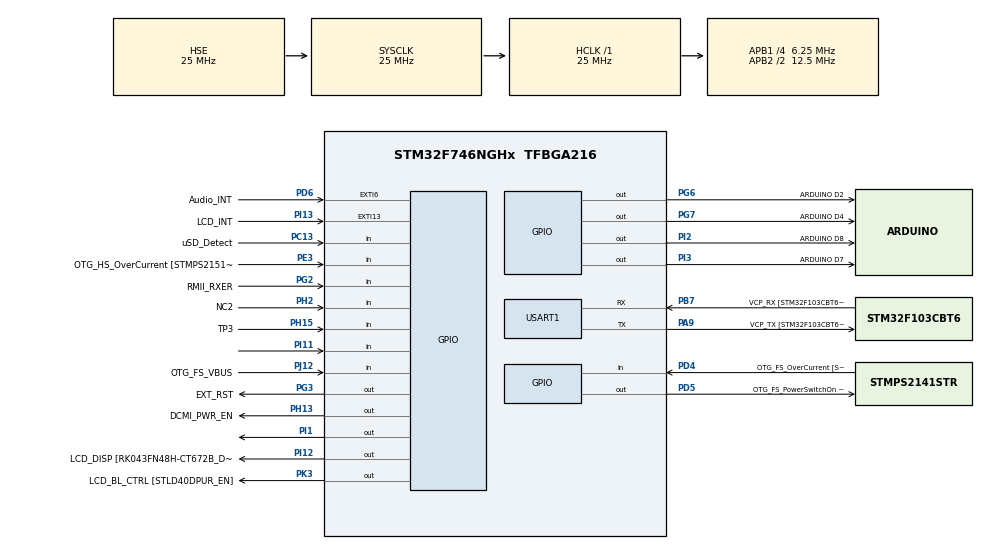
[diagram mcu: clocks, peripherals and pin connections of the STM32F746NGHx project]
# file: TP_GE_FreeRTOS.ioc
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FREERTOS.Tasks01=defaultTask,0,256,StartDefaultTask,Default,NULL,Dynamic,NULL,NULL
FREERTOS.configCHECK_FOR_STACK_OVERFLOW=2
FREERTOS.configGENERATE_RUN_TIME_STATS=1
FREERTOS.configRECORD_STACK_HIGH_ADDRESS=1
FREERTOS.configTOTAL_HEAP_SIZE=30000
FREERTOS.configUSE_STATS_FORMATTING_FUNCTIONS=1
FREERTOS.configUSE_TRACE_FACILITY=1
Mcu.Family=STM32F7
Mcu.Name=STM32F746NGHx
Mcu.Package=TFBGA216
NVIC.PriorityGroup=NVIC_PRIORITYGROUP_4
NVIC.USART1_IRQn=true\:5\:0\:false\:false\:true\:true\:true\:true\:true
PA0/WKUP.GPIO_Label=ARDUINO A0
PA0/WKUP.GPIO_Mode=GPIO_MODE_ANALOG
PA0/WKUP.GPIO_PuPd=GPIO_NOPULL
PA0/WKUP.Signal=ADCx_IN0
PA1.GPIO_Label=RMII_REF_CLK [LAN8742A-CZ-TR_REFCLK0]
PA1.Signal=ETH_REF_CLK
PA10.GPIO_Label=OTG_FS_ID
PA10.Signal=USB_OTG_FS_ID
PA11.GPIO_Label=OTG_FS_N
PA11.Signal=USB_OTG_FS_DM
PA12.GPIO_Label=OTG_FS_P
PA12.Signal=USB_OTG_FS_DP
PA13.GPIO_Label=SWDIO
PA13.Signal=SYS_JTMS-SWDIO
PA14.GPIO_Label=SWCLK
PA14.Signal=SYS_JTCK-SWCLK
PA15.GPIO_Label=ARDUINO PWM/D9
PA15.GPIO_ModeDefaultPP=GPIO_MODE_AF_PP
PA15.GPIO_PuPd=GPIO_NOPULL
PA15.GPIO_Speed=GPIO_SPEED_FREQ_LOW
PA15.Signal=S_TIM2_CH1_ETR
PA2.GPIO_Label=RMII_MDIO [LAN8742A-CZ-TR_MDIO]
PA2.Signal=ETH_MDIO
PA3.GPIO_Label=ULPI_D0 [USB3320C-EZK_D0]
PA3.Signal=USB_OTG_HS_ULPI_D0
PA4.GPIO_Label=DCMI_HSYNC
PA4.Signal=DCMI_HSYNC
PA5.GPIO_Label=ULPI_CLK [USB3320C-EZK_CLKOUT]
PA5.Signal=USB_OTG_HS_ULPI_CK
PA6.Signal=DCMI_PIXCLK
PA7.GPIO_Label=RMII_CRS_DV [LAN8742A-CZ-TR_CRS_DV]
PA7.Signal=ETH_CRS_DV
PA8.GPIO_Label=ARDUINO PWM/D10
PA8.GPIO_ModeDefaultPP=GPIO_MODE_AF_PP
PA8.GPIO_PuPd=GPIO_NOPULL
PA8.GPIO_Speed=GPIO_SPEED_FREQ_LOW
PA8.Signal=S_TIM1_CH1
PA9.GPIO_Label=VCP_TX [STM32F103CBT6_PA3]
PA9.GPIO_Mode=GPIO_MODE_AF_PP
PA9.GPIO_PuPd=GPIO_NOPULL
PA9.GPIO_Speed=GPIO_SPEED_FREQ_LOW
PA9.Mode=Asynchronous
PA9.Signal=USART1_TX
PB0.GPIO_Label=ULPI_D1 [USB3320C-EZK_D1]
PB0.Signal=USB_OTG_HS_ULPI_D1
PB1.GPIO_Label=ULPI_D2 [USB3320C-EZK_D2]
PB1.Signal=USB_OTG_HS_ULPI_D2
PB10.GPIO_Label=ULPI_D3 [USB3320C-EZK_D3]
PB10.Signal=USB_OTG_HS_ULPI_D3
PB11.GPIO_Label=ULPI_D4 [USB3320C-EZK_D4]
PB11.Signal=USB_OTG_HS_ULPI_D4
PB12.GPIO_Label=ULPI_D5 [USB3320C-EZK_D5]
PB12.Signal=USB_OTG_HS_ULPI_D5
PB13.GPIO_Label=ULPI_D6 [USB3320C-EZK_D6]
PB13.Signal=USB_OTG_HS_ULPI_D6
PB14.GPIO_Label=ARDUINO MISO/D12
PB14.GPIO_Mode=GPIO_MODE_AF_PP
PB14.GPIO_PuPd=GPIO_NOPULL
PB14.GPIO_Speed=GPIO_SPEED_FREQ_LOW
PB14.Signal=SPI2_MISO
PB15.GPIO_Label=ARDUINO MOSI/PWM/D11
PB15.GPIO_Mode=GPIO_MODE_AF_PP
PB15.GPIO_PuPd=GPIO_NOPULL
PB15.GPIO_Speed=GPIO_SPEED_FREQ_LOW
PB15.Signal=SPI2_MOSI
PB2.Signal=QUADSPI_CLK
PB3.GPIO_Label=SWO
PB3.Signal=SYS_JTDO-SWO
PB4.GPIO_Label=ARDUINO PWM/D3
PB4.GPIO_ModeDefaultPP=GPIO_MODE_AF_PP
PB4.GPIO_PuPd=GPIO_NOPULL
PB4.GPIO_Speed=GPIO_SPEED_FREQ_LOW
PB4.Signal=S_TIM3_CH1
PB5.GPIO_Label=ULPI_D7 [USB3320C-EZK_D7]
PB5.Signal=USB_OTG_HS_ULPI_D7
PB6.GPIO_Label=QSPI_NCS [N25Q128A13EF840E_S]
PB6.Signal=QUADSPI_BK1_NCS
PB7.GPIO_Label=VCP_RX [STM32F103CBT6_PA2]
PB7.GPIO_Mode=GPIO_MODE_AF_PP
PB7.GPIO_PuPd=GPIO_NOPULL
PB7.GPIO_Speed=GPIO_SPEED_FREQ_LOW
PB7.Mode=Asynchronous
PB7.Signal=USART1_RX
PB8.GPIO_Label=ARDUINO SCL/D15
PB8.GPIO_Mode=GPIO_MODE_AF_OD
PB8.GPIO_PuPd=GPIO_NOPULL
PB8.GPIO_Speed=GPIO_SPEED_FREQ_LOW
PB8.Signal=I2C1_SCL
PB9.GPIO_Label=ARDUINO SDA/D14
PB9.GPIO_Mode=GPIO_MODE_AF_OD
PB9.GPIO_PuPd=GPIO_NOPULL
PB9.GPIO_Speed=GPIO_SPEED_FREQ_LOW
PB9.Signal=I2C1_SDA
PC0.GPIO_Label=ULPI_STP [USB3320C-EZK_STP]
PC0.Signal=USB_OTG_HS_ULPI_STP
PC1.GPIO_Label=RMII_MDC [LAN8742A-CZ-TR_MDC]
PC1.Signal=ETH_MDC
PC10.GPIO_Label=SDMMC_D2
PC10.Signal=SDMMC1_D2
PC11.GPIO_Label=SDMMC_D3
PC11.Signal=SDMMC1_D3
PC12.GPIO_Label=SDMMC_CK
PC12.Signal=SDMMC1_CK
PC13.GPIO_Label=uSD_Detect
PC13.Signal=GPIO_Input
PC14/OSC32_IN.GPIO_Label=RCC_OSC32_IN
PC14/OSC32_IN.Signal=RCC_OSC32_IN
PC15/OSC32_OUT.GPIO_Label=RCC_OSC32_OUT
PC15/OSC32_OUT.Signal=RCC_OSC32_OUT
PC2.GPIO_Label=ULPI_DIR [USB3320C-EZK_DIR]
PC2.Signal=USB_OTG_HS_ULPI_DIR
PC3.GPIO_Label=FMC_SDCKE0 [MT48LC4M32B2B5-6A_CKE]
PC3.Signal=FMC_SDCKE0
PC4.GPIO_Label=RMII_RXD0 [LAN8742A-CZ-TR_RXD0]
PC4.Signal=ETH_RXD0
PC5.GPIO_Label=RMII_RXD1 [LAN8742A-CZ-TR_RXD1]
PC5.Signal=ETH_RXD1
PC6.GPIO_Label=ARDUINO TX/D1
PC6.Signal=USART6_TX
PC7.GPIO_Label=ARDUINO RX/D0
PC7.Signal=USART6_RX
PC8.Signal=SDMMC1_D0
PC9.Signal=SDMMC1_D1
PD0.GPIO_Label=FMC_D2 [MT48LC4M32B2B5-6A_DQ2]
PD0.Signal=FMC_D2_DA2
PD1.GPIO_Label=FMC_D3 [MT48LC4M32B2B5-6A_DQ3]
PD1.Signal=FMC_D3_DA3
PD10.GPIO_Label=FMC_D15 [MT48LC4M32B2B5-6A_DQ15]
PD10.Signal=FMC_D15_DA15
PD11.GPIO_Label=QSPI_D0 [N25Q128A13EF840E_DQ0]
PD11.Signal=QUADSPI_BK1_IO0
PD12.GPIO_Label=QSPI_D1 [N25Q128A13EF840E_DQ1]
PD12.Signal=QUADSPI_BK1_IO1
PD13.GPIO_Label=QSPI_D3 [N25Q128A13EF840E_DQ3]
PD13.Signal=QUADSPI_BK1_IO3
PD14.GPIO_Label=FMC_D0 [MT48LC4M32B2B5-6A_DQ0]
PD14.Signal=FMC_D0_DA0
PD15.GPIO_Label=FMC_D1 [MT48LC4M32B2B5-6A_DQ1]
PD15.Signal=FMC_D1_DA1
PD2.GPIO_Label=SDMMC_D0
PD2.Signal=SDMMC1_CMD
PD3.GPIO_Label=DCMI_D5
PD3.Signal=DCMI_D5
PD4.GPIO_Label=OTG_FS_OverCurrent [STMPS2141STR_Fault]
PD4.Signal=GPIO_Input
PD5.GPIO_Label=OTG_FS_PowerSwitchOn [STMPS2141STR_EN]
PD5.PinState=GPIO_PIN_SET
PD5.Signal=GPIO_Output
PD6.GPIO_Label=Audio_INT
PD6.GPIO_ModeDefaultEXTI=GPIO_MODE_EVT_RISING
PD6.Signal=GPXTI6
PD7.GPIO_Label=SPDIF_RX0 [74LVC1G04SE_4]
PD7.Signal=SPDIFRX_IN0
PD8.GPIO_Label=FMC_D13 [MT48LC4M32B2B5-6A_DQ13]
PD8.Signal=FMC_D13_DA13
PD9.GPIO_Label=FMC_D14 [MT48LC4M32B2B5-6A_DQ14]
PD9.Signal=FMC_D14_DA14
PE0.GPIO_Label=FMC_NBL0 [MT48LC4M32B2B5-6A_DQM0]
PE0.Signal=FMC_NBL0
PE1.GPIO_Label=FMC_NBL1 [MT48LC4M32B2B5-6A_DQM1]
PE1.Signal=FMC_NBL1
PE10.GPIO_Label=FMC_D7 [MT48LC4M32B2B5-6A_DQ7]
PE10.Signal=FMC_D7_DA7
PE11.GPIO_Label=FMC_D8 [MT48LC4M32B2B5-6A_DQ8]
PE11.Signal=FMC_D8_DA8
PE12.GPIO_Label=FMC_D9 [MT48LC4M32B2B5-6A_DQ9]
PE12.Signal=FMC_D9_DA9
PE13.GPIO_Label=FMC_D10 [MT48LC4M32B2B5-6A_DQ10]
PE13.Signal=FMC_D10_DA10
PE14.GPIO_Label=FMC_D11 [MT48LC4M32B2B5-6A_DQ11]
PE14.Signal=FMC_D11_DA11
PE15.GPIO_Label=FMC_D12 [MT48LC4M32B2B5-6A_DQ12]
PE15.Signal=FMC_D12_DA12
PE2.GPIO_Label=QSPI_D2 [N25Q128A13EF840E_DQ2]
PE2.Signal=QUADSPI_BK1_IO2
PE3.GPIO_Label=OTG_HS_OverCurrent [STMPS2151STR_FAULT]
PE3.Signal=GPIO_Input
PE4.GPIO_Label=LCD_B0 [RK043FN48H-CT672B_B0]
PE4.Signal=LTDC_B0
PE5.GPIO_Label=DCMI_D6
PE5.Signal=DCMI_D6
PE6.GPIO_Label=DCMI_D7
PE6.Signal=DCMI_D7
PE7.GPIO_Label=FMC_D4 [MT48LC4M32B2B5-6A_DQ4]
PE7.Signal=FMC_D4_DA4
PE8.GPIO_Label=FMC_D5 [MT48LC4M32B2B5-6A_DQ5]
PE8.Signal=FMC_D5_DA5
PE9.GPIO_Label=FMC_D6 [MT48LC4M32B2B5-6A_DQ6]
PE9.Signal=FMC_D6_DA6
PF0.GPIO_Label=FMC_A0 [MT48LC4M32B2B5-6A_A0]
PF0.Signal=FMC_A0
PF1.GPIO_Label=FMC_A1 [MT48LC4M32B2B5-6A_A1]
PF1.Signal=FMC_A1
PF10.GPIO_Label=ARDUINO A1
PF10.GPIO_Mode=GPIO_MODE_ANALOG
PF10.GPIO_PuPd=GPIO_NOPULL
PF10.Signal=ADC3_IN8
PF11.GPIO_Label=FMC_SDNRAS [MT48LC4M32B2B5-6A_RAS]
PF11.Signal=FMC_SDNRAS
PF12.GPIO_Label=FMC_A6 [MT48LC4M32B2B5-6A_A6]
PF12.Signal=FMC_A6
PF13.GPIO_Label=FMC_A7 [MT48LC4M32B2B5-6A_A7]
PF13.Signal=FMC_A7
PF14.GPIO_Label=FMC_A8 [MT48LC4M32B2B5-6A_A8]
PF14.Signal=FMC_A8
PF15.GPIO_Label=FMC_A9 [MT48LC4M32B2B5-6A_A9]
PF15.Signal=FMC_A9
PF2.GPIO_Label=FMC_A2 [MT48LC4M32B2B5-6A_A2]
PF2.Signal=FMC_A2
PF3.GPIO_Label=FMC_A3 [MT48LC4M32B2B5-6A_A3]
PF3.Signal=FMC_A3
PF4.GPIO_Label=FMC_A4 [MT48LC4M32B2B5-6A_A4]
PF4.Signal=FMC_A4
PF5.GPIO_Label=FMC_A5 [MT48LC4M32B2B5-6A_A5]
PF5.Signal=FMC_A5
PF6.GPIO_Label=ARDUINO A5
PF6.GPIO_Mode=GPIO_MODE_ANALOG
PF6.GPIO_PuPd=GPIO_NOPULL
PF6.Signal=ADC3_IN4
PF7.GPIO_Label=ARDUINO A4
PF7.GPIO_Mode=GPIO_MODE_ANALOG
PF7.GPIO_PuPd=GPIO_NOPULL
PF7.Signal=ADC3_IN5
PF8.GPIO_Label=ARDUINO A3
PF8.GPIO_Mode=GPIO_MODE_ANALOG
PF8.GPIO_PuPd=GPIO_NOPULL
PF8.Signal=ADC3_IN6
PF9.GPIO_Label=ARDUINO A2
PF9.GPIO_Mode=GPIO_MODE_ANALOG
PF9.GPIO_PuPd=GPIO_NOPULL
PF9.Signal=ADC3_IN7
PG0.GPIO_Label=FMC_A10 [MT48LC4M32B2B5-6A_A10]
PG0.Signal=FMC_A10
PG1.GPIO_Label=FMC_A11 [MT48LC4M32B2B5-6A_A11]
PG1.Signal=FMC_A11
PG10.GPIO_Label=SAI2_SDB [WM8994ECS/R_ADCDAT1]
PG10.Signal=SAI2_SD_B
PG11.GPIO_Label=RMII_TX_EN [LAN8742A-CZ-TR_TXEN]
PG11.Signal=ETH_TX_EN
PG12.GPIO_Label=LCD_B4 [RK043FN48H-CT672B_B4]
PG12.Signal=LTDC_B4
PG13.GPIO_Label=RMII_TXD0 [LAN8742A-CZ-TR_TXD0]
PG13.Signal=ETH_TXD0
PG14.GPIO_Label=RMII_TXD1 [LAN8742A-CZ-TR_TXD1]
PG14.Signal=ETH_TXD1
PG15.GPIO_Label=FMC_SDNCAS [MT48LC4M32B2B5-6A_CAS]
PG15.Signal=FMC_SDNCAS
PG2.GPIO_Label=RMII_RXER
PG2.Signal=GPIO_Input
PG3.GPIO_Label=EXT_RST
PG3.Signal=GPIO_Output
PG4.GPIO_Label=FMC_BA0 [MT48LC4M32B2B5-6A_BA0]
PG4.Signal=FMC_A14_BA0
PG5.GPIO_Label=FMC_BA1 [MT48LC4M32B2B5-6A_BA1]
PG5.Signal=FMC_A15_BA1
PG6.GPIO_Label=ARDUINO D2
PG6.Signal=GPIO_Output
PG7.GPIO_Label=ARDUINO D4
PG7.Signal=GPIO_Output
PG8.GPIO_Label=FMC_SDCLK [MT48LC4M32B2B5-6A_CLK]
PG8.Signal=FMC_SDCLK
PG9.GPIO_Label=DCMI_VSYNC
PG9.Signal=DCMI_VSYNC
PH0/OSC_IN.GPIO_Label=OSC_25M [NZ2520SB-25.00M_OUT]
PH0/OSC_IN.Mode=HSE-External-Oscillator
PH0/OSC_IN.Signal=RCC_OSC_IN
PH1/OSC_OUT.Mode=HSE-External-Oscillator
PH1/OSC_OUT.Signal=RCC_OSC_OUT
PH10.GPIO_Label=DCMI_D1
PH10.Signal=DCMI_D1
PH11.GPIO_Label=DCMI_D2
PH11.Signal=DCMI_D2
PH12.GPIO_Label=DCMI_D3
PH12.Signal=DCMI_D3
PH13.GPIO_Label=DCMI_PWR_EN
PH13.Signal=GPIO_Output
PH14.GPIO_Label=DCMI_D4
PH14.Signal=DCMI_D4
PH15.GPIO_Label=TP3
PH15.Signal=GPIO_Input
PH2.GPIO_Label=NC2
PH2.Signal=GPIO_Input
PH3.GPIO_Label=FMC_SDNE0 [MT48LC4M32B2B5-6A_CS]
PH3.Signal=FMC_SDNE0
PH4.GPIO_Label=ULPI_NXT [USB3320C-EZK_NXT]
PH4.Signal=USB_OTG_HS_ULPI_NXT
PH5.GPIO_Label=FMC_SDNME [MT48LC4M32B2B5-6A_WE]
PH5.Signal=FMC_SDNWE
PH6.GPIO_Label=ARDUINO PWM/D6
PH6.Signal=S_TIM12_CH1
PH7.GPIO_Label=LCD_SCL [RK043FN48H-CT672B_SCL]
PH7.Signal=I2C3_SCL
PH8.GPIO_Label=LCD_SDA [RK043FN48H-CT672B_SDA]
PH8.Signal=I2C3_SDA
PH9.GPIO_Label=DCMI_D0
PH9.Signal=DCMI_D0
PI0.GPIO_Label=ARDUINO PWM/CS/D5
PI0.GPIO_ModeDefaultPP=GPIO_MODE_AF_PP
PI0.GPIO_PuPd=GPIO_NOPULL
PI0.GPIO_Speed=GPIO_SPEED_FREQ_LOW
PI0.Signal=S_TIM5_CH4
PI1.Signal=GPIO_Output
PI10.GPIO_Label=LCD_HSYNC [RK043FN48H-CT672B_HSYNC]
PI10.Signal=LTDC_HSYNC
PI11.Signal=GPIO_Input
PI12.GPIO_Label=LCD_DISP [RK043FN48H-CT672B_DISP] 
PI12.Signal=GPIO_Output
PI13.GPIO_Label=LCD_INT
PI13.GPIO_ModeDefaultEXTI=GPIO_MODE_EVT_RISING
PI13.Signal=GPXTI13
PI14.GPIO_Label=LCD_CLK [RK043FN48H-CT672B_CLK]
PI14.Signal=LTDC_CLK
PI15.GPIO_Label=LCD_R0 [RK043FN48H-CT672B_R0]
PI15.Signal=LTDC_R0
PI2.GPIO_Label=ARDUINO D8
PI2.Signal=GPIO_Output
PI3.GPIO_Label=ARDUINO D7
PI3.Signal=GPIO_Output
PI4.GPIO_Label=SAI2_MCLKA [WM8994ECS/R_MCLK1]
PI4.Signal=SAI2_MCLK_A
PI5.GPIO_Label=SAI2_SCKA [WM8994ECS/R_BCLK1]
PI5.Signal=SAI2_SCK_A
PI6.GPIO_Label=SAI2_SDA [WM8994ECS/R_DACDAT1]
PI6.Signal=SAI2_SD_A
PI7.GPIO_Label=SAI2_FSA [WM8994ECS/R_LRCLK1]
PI7.Signal=SAI2_FS_A
PI8.GPIO_Label=NC1 [TP2]
PI8.Signal=RTC_TS
PI9.GPIO_Label=LCD_VSYNC [RK043FN48H-CT672B_VSYNC]
PI9.Signal=LTDC_VSYNC
PJ0.GPIO_Label=LCD_R1 [RK043FN48H-CT672B_R1]
PJ0.Signal=LTDC_R1
PJ1.GPIO_Label=LCD_R2 [RK043FN48H-CT672B_R2]
PJ1.Signal=LTDC_R2
PJ10.GPIO_Label=LCD_G3 [RK043FN48H-CT672B_G3]
PJ10.Signal=LTDC_G3
PJ11.GPIO_Label=LCD_G4 [RK043FN48H-CT672B_G4]
PJ11.Signal=LTDC_G4
PJ12.GPIO_Label=OTG_FS_VBUS
PJ12.Signal=GPIO_Input
PJ13.GPIO_Label=LCD_B1 [RK043FN48H-CT672B_B1]
PJ13.Signal=LTDC_B1
PJ14.GPIO_Label=LCD_B2 [RK043FN48H-CT672B_B2]
PJ14.Signal=LTDC_B2
PJ15.GPIO_Label=LCD_B3 [RK043FN48H-CT672B_B3]
PJ15.Signal=LTDC_B3
PJ2.GPIO_Label=LCD_R3 [RK043FN48H-CT672B_R3]
PJ2.Signal=LTDC_R3
PJ3.GPIO_Label=LCD_R4 [RK043FN48H-CT672B_R4]
PJ3.Signal=LTDC_R4
PJ4.GPIO_Label=LCD_R5 [RK043FN48H-CT672B_R5]
PJ4.Signal=LTDC_R5
PJ5.GPIO_Label=LCD_R6 [RK043FN48H-CT672B_R6]
PJ5.Signal=LTDC_R6
PJ6.GPIO_Label=LCD_R7 [RK043FN48H-CT672B_R7]
PJ6.Signal=LTDC_R7
PJ7.GPIO_Label=LCD_G0 [RK043FN48H-CT672B_G0]
PJ7.Signal=LTDC_G0
PJ8.GPIO_Label=LCD_G1 [RK043FN48H-CT672B_G1]
PJ8.Signal=LTDC_G1
PJ9.GPIO_Label=LCD_G2 [RK043FN48H-CT672B_G2]
PJ9.Signal=LTDC_G2
PK0.GPIO_Label=LCD_G5 [RK043FN48H-CT672B_G5]
PK0.Signal=LTDC_G5
PK1.GPIO_Label=LCD_G6 [RK043FN48H-CT672B_G6]
PK1.Signal=LTDC_G6
PK2.GPIO_Label=LCD_G7 [RK043FN48H-CT672B_G7]
PK2.Signal=LTDC_G7
PK3.GPIO_Label=LCD_BL_CTRL [STLD40DPUR_EN]
PK3.Signal=GPIO_Output
PK4.GPIO_Label=LCD_B5 [RK043FN48H-CT672B_B5]
PK4.Signal=LTDC_B5
PK5.GPIO_Label=LCD_B6 [RK043FN48H-CT672B_B6]
PK5.Signal=LTDC_B6
PK6.GPIO_Label=LCD_B7 [RK043FN48H-CT672B_B7]
PK6.Signal=LTDC_B7
PK7.GPIO_Label=LCD_DE [RK043FN48H-CT672B_DE]
PK7.Signal=LTDC_DE
ProjectManager.HeapSize=0x200
ProjectManager.StackSize=0x400
ProjectManager.TargetToolchain=CMake
RCC.AHBFreq_Value=25000000
RCC.APB1CLKDivider=RCC_HCLK_DIV4
RCC.APB1Freq_Value=6250000
RCC.APB1TimFreq_Value=12500000
RCC.APB2CLKDivider=RCC_HCLK_DIV2
RCC.APB2Freq_Value=12500000
RCC.APB2TimFreq_Value=25000000
RCC.CortexFreq_Value=25000000
RCC.HCLKFreq_Value=25000000
RCC.HSE_VALUE=25000000
RCC.HSI_VALUE=16000000
RCC.LSE_VALUE=32768
RCC.PLLM=10
RCC.PLLN=210
RCC.PLLSourceVirtual=RCC_PLLSOURCE_HSE
RCC.SYSCLKFreq_VALUE=25000000
RCC.SYSCLKSource=RCC_SYSCLKSOURCE_HSE
RCC.USBFreq_Value=262500000
RCC.VCOOutputFreq_Value=525000000
SH.ADCx_IN0.0=ADC3_IN0
SH.FMC_A0.0=FMC_A0
SH.FMC_A1.0=FMC_A1
SH.FMC_A10.0=FMC_A10
SH.FMC_A11.0=FMC_A11
SH.FMC_A14_BA0.0=FMC_BA0
SH.FMC_A15_BA1.0=FMC_BA1
SH.FMC_A2.0=FMC_A2
SH.FMC_A3.0=FMC_A3
SH.FMC_A4.0=FMC_A4
SH.FMC_A5.0=FMC_A5
SH.FMC_A6.0=FMC_A6
SH.FMC_A7.0=FMC_A7
SH.FMC_A8.0=FMC_A8
SH.FMC_A9.0=FMC_A9
SH.FMC_D0_DA0.0=FMC_D0
SH.FMC_D10_DA10.0=FMC_D10
SH.FMC_D11_DA11.0=FMC_D11
SH.FMC_D12_DA12.0=FMC_D12
SH.FMC_D13_DA13.0=FMC_D13
SH.FMC_D14_DA14.0=FMC_D14
SH.FMC_D15_DA15.0=FMC_D15
SH.FMC_D1_DA1.0=FMC_D1
SH.FMC_D2_DA2.0=FMC_D2
SH.FMC_D3_DA3.0=FMC_D3
SH.FMC_D4_DA4.0=FMC_D4
SH.FMC_D5_DA5.0=FMC_D5
SH.FMC_D6_DA6.0=FMC_D6
SH.FMC_D7_DA7.0=FMC_D7
SH.FMC_D8_DA8.0=FMC_D8
SH.FMC_D9_DA9.0=FMC_D9
SH.FMC_NBL0.0=FMC_NBL0
SH.FMC_NBL1.0=FMC_NBL1
SH.FMC_SDCLK.0=FMC_SDCLK
SH.FMC_SDNCAS.0=FMC_SDNCAS
SH.FMC_SDNRAS.0=FMC_SDNRAS
SH.FMC_SDNWE.0=FMC_SDNWE
SH.S_TIM12_CH1.0=TIM12_CH1
SH.S_TIM1_CH1.0=TIM1_CH1
SH.S_TIM2_CH1_ETR.0=TIM2_CH1
SH.S_TIM3_CH1.0=TIM3_CH1
SH.S_TIM5_CH4.0=TIM5_CH4
TIM2.Prescaler=84-1
USART1.VirtualMode-Asynchronous=VM_ASYNC
VP_FREERTOS_VS_CMSIS_V1.Mode=CMSIS_V1
VP_TIM2_VS_ClockSourceINT.Mode=Internal
board=STM32F746G-DISCO

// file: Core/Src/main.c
/* USER CODE BEGIN Header */
/**
  ******************************************************************************
  * @file           : main.c
  * @brief          : Main program body
  ******************************************************************************
  * @attention
  *
  * Copyright (c) 2026 STMicroelectronics.
  * All rights reserved.
  *
  * This software is licensed under terms that can be found in the LICENSE file
  * in the root directory of this software component.
  * If no LICENSE file comes with this software, it is provided AS-IS.
  *
  ******************************************************************************
  */
/* USER CODE END Header */
#include "main.h"
#include "cmsis_os.h"
#include "tim.h"
#include "usart.h"
#include "gpio.h"

/* USER CODE BEGIN Includes */
#include <stdio.h>
#include <string.h>
#include "FreeRTOS.h"
#include "task.h"
#include "semphr.h"
#include "shell.h"

/*
#define STACK_SIZE 256
#define TASK1_PRIORITY 1
#define TASK2_PRIORITY 2
#define TASK1_DELAY 1
#define TASK2_DELAY 2
*/
/* USER CODE END Includes */

/* USER CODE BEGIN PV */

// SemaphoreHandle_t xSemaphore = NULL;

//TaskHandle_t taskTakeHandle = NULL;

// QueueHandle_t xQueue = NULL;

QueueHandle_t shellQueue;

SemaphoreHandle_t xPrintMutex;

uint32_t led_period = 0;

TaskHandle_t ledTaskHandle = NULL;

BaseType_t ret;

char spam_msg[64] = "hello";
uint32_t spam_count = 0;

QueueHandle_t xDataQueue;
SemaphoreHandle_t xBinarySemaphore;
SemaphoreHandle_t xUartMutex;

typedef struct
{
    uint32_t counter;
    uint32_t value;
} SensorMessage_t;

/* USER CODE END PV */

void SystemClock_Config(void);
void MX_FREERTOS_Init(void);
/* USER CODE BEGIN PFP */

int sh_stats(int argc, char **argv);

/* USER CODE END PFP */

/* USER CODE BEGIN 0 */
int __io_putchar(int ch) {
	HAL_UART_Transmit(&huart1, (uint8_t *)&ch, 1, HAL_MAX_DELAY);
	return ch;
}

void led_task(void *arg)
{

//Suspend() et resume()

    for (;;)
    {
        if (led_period == 0)
        {
            HAL_GPIO_WritePin(GPIOI, GPIO_PIN_1, GPIO_PIN_RESET);
            vTaskDelay(10);
        }
        else
        {
            HAL_GPIO_TogglePin(GPIOI, GPIO_PIN_1);
            vTaskDelay(pdMS_TO_TICKS(led_period));
        }
    }
}

void task_overflow(void *arg)
{
    // Grosse variable locale = explosion de pile
    uint8_t big_buffer[500];

    for (;;)
    {
        big_buffer[0] = 42; // juste pour éviter l’optimisation
        vTaskDelay(10);
    }
}

static void uart_print(const char *msg)
{
    if (xUartMutex != NULL)
    {
        if (xSemaphoreTake(xUartMutex, portMAX_DELAY) == pdTRUE)
        {
            HAL_UART_Transmit(&huart1, (uint8_t *)msg, strlen(msg), HAL_MAX_DELAY);
            xSemaphoreGive(xUartMutex);
        }
    }
}

void boom()
{
    uint8_t buffer[200];
    boom(); // récursion infinie
}

void task_overflow2(void *arg)
{
    boom();
}

void spam_task(void *arg)
{
    for (;;)
    {
        if (spam_count > 0)
        {
            xSemaphoreTake(xPrintMutex, portMAX_DELAY);

            printf("%s\r\n", spam_msg);
            xSemaphoreGive(xPrintMutex);

            spam_count--;
        }

        vTaskDelay(pdMS_TO_TICKS(200));
    }
}

void StartTaskSensor(void *argument)
{
    SensorMessage_t msg;
    uint32_t count = 0;
    char buffer[80];

    for (;;)
    {
        msg.counter = count++;
        msg.value = msg.counter * 10;

        if (xQueueSend(xDataQueue, &msg, pdMS_TO_TICKS(50)) == pdPASS)
        {
            snprintf(buffer, sizeof(buffer),
                     "[TaskSensor] Sent -> counter=%lu value=%lu\r\n",
                     msg.counter, msg.value);
            uart_print(buffer);
        }
        else
        {
            uart_print("[TaskSensor] Queue full\r\n");
        }

        vTaskDelay(pdMS_TO_TICKS(1000));
    }
}

/* ---------------- Task 2 : consomme les données ---------------- */
void StartTaskProcess(void *argument)
{
    SensorMessage_t rxMsg;
    char buffer[80];

    for (;;)
    {
        if (xQueueReceive(xDataQueue, &rxMsg, portMAX_DELAY) == pdPASS)
        {
            snprintf(buffer, sizeof(buffer),
                     "[TaskProcess] Received -> counter=%lu value=%lu\r\n",
                     rxMsg.counter, rxMsg.value);
            uart_print(buffer);
        }
    }
}

int sh_stats(int argc, char **argv)
{
    char buffer[512];

    printf("=== Liste des tâches ===\r\n");
    vTaskList(buffer);
    printf("%s\r\n", buffer);

    printf("=== Statistiques CPU ===\r\n");
    vTaskGetRunTimeStats(buffer);
    printf("%s\r\n", buffer);

    return 0;
}

/* USER CODE END 0 */

int main(void)
{

  /* MCU Configuration--------------------------------------------------------*/

  /* Reset of all peripherals, Initializes the Flash interface and the Systick. */
  HAL_Init();

  /* Configure the system clock */
  SystemClock_Config();

  /* Initialize all configured peripherals */
  MX_GPIO_Init();
  MX_USART1_UART_Init();
  MX_TIM2_Init();
  /* USER CODE BEGIN 2 */
  __HAL_UART_ENABLE_IT(&huart1, UART_IT_RXNE);

  //Mutex :

  xPrintMutex = xSemaphoreCreateMutex();
  configASSERT(xPrintMutex != NULL);

  shellQueue = xQueueCreate(64, sizeof(char));
  configASSERT(shellQueue != NULL);

  shell_init();

  xDataQueue = xQueueCreate(8, sizeof(SensorMessage_t));
  xBinarySemaphore = xSemaphoreCreateBinary();
  xUartMutex = xSemaphoreCreateMutex();

  if ((xDataQueue == NULL) || (xBinarySemaphore == NULL) || (xUartMutex == NULL))
  {
      Error_Handler();
  }

  //gestion d erreur
  //3.1

  //Création des tâches bidons :
/*  for (int i = 0; i < 50; i++) {
      char name[16];
      sprintf(name, "T%d", i);

      BaseType_t ret = xTaskCreate(spam_task, name, 256, NULL, 1, NULL);//On a 256 mots donc en octet ; on a 256 x4

      if (ret != pdPASS) {
          printf("Erreur: plus de memoire pour creer la tache %d\n", i);
          Error_Handler();
      }
  }*/

  shell_add('t', sh_stats, "Affiche les stats FreeRTOS");
  xTaskCreate(shell_task, "shell_task", 256, NULL, 1, NULL);//On a 256 mots donc en octet ; on a 256 x4
  xTaskCreate(StartTaskProcess,    "TaskProcess",    256, NULL, 2, NULL);
  xTaskCreate(spam_task, "Spam_task", 256, NULL, 1, NULL);
  //xTaskCreate(task_overflow2, "overflow", 256, NULL, 1, NULL);
  //xTaskCreate(task_overflow, "overflow2", 256, NULL, 1, NULL);

  //shell_add('t', sh_stats, "Affiche les stats FreeRTOS");

  vTaskStartScheduler();
  // tasks :

/*   xTaskCreate(shell_task, "shell", 512, NULL, 3, NULL);

   xTaskCreate(led_task, "led", 256, NULL, 2, &ledTaskHandle);

   xTaskCreate(spam_task, "spam", 256, NULL, 2, NULL);*/

  /* USER CODE END 2 */

  /* Call init function for freertos objects (in cmsis_os2.c) */
  MX_FREERTOS_Init();

  /* Start scheduler */
  osKernelStart();

  /* We should never get here as control is now taken by the scheduler */

  /* Infinite loop */
  /* USER CODE BEGIN WHILE */
  while (1)
  {

	 // blinkLed();
	  //User_Button();
    /* USER CODE END WHILE */

  }
}

void SystemClock_Config(void)
{
  RCC_OscInitTypeDef RCC_OscInitStruct = {0};
  RCC_ClkInitTypeDef RCC_ClkInitStruct = {0};

  /** Configure the main internal regulator output voltage
  */
  __HAL_RCC_PWR_CLK_ENABLE();
  __HAL_PWR_VOLTAGESCALING_CONFIG(PWR_REGULATOR_VOLTAGE_SCALE3);

  /** Initializes the RCC Oscillators according to the specified parameters
  * in the RCC_OscInitTypeDef structure.
  */
  RCC_OscInitStruct.OscillatorType = RCC_OSCILLATORTYPE_HSE;
  RCC_OscInitStruct.HSEState = RCC_HSE_ON;
  RCC_OscInitStruct.PLL.PLLState = RCC_PLL_NONE;
  if (HAL_RCC_OscConfig(&RCC_OscInitStruct) != HAL_OK)
  {
    Error_Handler();
  }

  /** Initializes the CPU, AHB and APB buses clocks
  */
  RCC_ClkInitStruct.ClockType = RCC_CLOCKTYPE_HCLK|RCC_CLOCKTYPE_SYSCLK
                              |RCC_CLOCKTYPE_PCLK1|RCC_CLOCKTYPE_PCLK2;
  RCC_ClkInitStruct.SYSCLKSource = RCC_SYSCLKSOURCE_HSE;
  RCC_ClkInitStruct.AHBCLKDivider = RCC_SYSCLK_DIV1;
  RCC_ClkInitStruct.APB1CLKDivider = RCC_HCLK_DIV4;
  RCC_ClkInitStruct.APB2CLKDivider = RCC_HCLK_DIV2;

  if (HAL_RCC_ClockConfig(&RCC_ClkInitStruct, FLASH_LATENCY_0) != HAL_OK)
  {
    Error_Handler();
  }
}

/* USER CODE BEGIN 4 */

/*void vApplicationStackOverflowHook(TaskHandle_t xTask, char *pcTaskName)
{
    taskDISABLE_INTERRUPTS();

    printf("Erreur : stack overflow dans la tâche %s\n", pcTaskName);

    HAL_GPIO_WritePin(GPIOI, GPIO_PIN_1, GPIO_PIN_SET);

    while (1) {}
}*/

void configureTimerForRunTimeStats(void)
{
    MX_TIM2_Init();                 // Initialise TIM2
    HAL_TIM_Base_Start(&htim2);     // Démarre le timer
}

unsigned long getRunTimeCounterValue(void)
{
	 return __HAL_TIM_GET_COUNTER(&htim2);
}

/* USER CODE END 4 */

void Error_Handler(void)
{
  __disable_irq();
  while (1)
  {
  }
}

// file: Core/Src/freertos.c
/* USER CODE BEGIN Header */
/**
  ******************************************************************************
  * File Name          : freertos.c
  * Description        : Code for freertos applications
  ******************************************************************************
  * @attention
  *
  * Copyright (c) 2026 STMicroelectronics.
  * All rights reserved.
  *
  * This software is licensed under terms that can be found in the LICENSE file
  * in the root directory of this software component.
  * If no LICENSE file comes with this software, it is provided AS-IS.
  *
  ******************************************************************************
  */
/* USER CODE END Header */

#include "FreeRTOS.h"
#include "task.h"
#include "main.h"
#include "cmsis_os.h"

osThreadId defaultTaskHandle;

void StartDefaultTask(void const * argument);

void MX_FREERTOS_Init(void); /* (MISRA C 2004 rule 8.1) */

/* GetIdleTaskMemory prototype (linked to static allocation support) */
void vApplicationGetIdleTaskMemory( StaticTask_t **ppxIdleTaskTCBBuffer, StackType_t **ppxIdleTaskStackBuffer, uint32_t *pulIdleTaskStackSize );

/* Hook prototypes */
void configureTimerForRunTimeStats(void);
unsigned long getRunTimeCounterValue(void);
void vApplicationStackOverflowHook(xTaskHandle xTask, signed char *pcTaskName);

/* USER CODE BEGIN 1 */
/* Functions needed when configGENERATE_RUN_TIME_STATS is on */
__weak void configureTimerForRunTimeStats(void)
{

}

__weak unsigned long getRunTimeCounterValue(void)
{
return 0;
}
/* USER CODE END 1 */

/* USER CODE BEGIN 4 */
__weak void vApplicationStackOverflowHook(xTaskHandle xTask, signed char *pcTaskName)
{
   /* Run time stack overflow checking is performed if
   configCHECK_FOR_STACK_OVERFLOW is defined to 1 or 2. This hook function is
   called if a stack overflow is detected. */
}
/* USER CODE END 4 */

/* USER CODE BEGIN GET_IDLE_TASK_MEMORY */
static StaticTask_t xIdleTaskTCBBuffer;
static StackType_t xIdleStack[configMINIMAL_STACK_SIZE];

void vApplicationGetIdleTaskMemory( StaticTask_t **ppxIdleTaskTCBBuffer, StackType_t **ppxIdleTaskStackBuffer, uint32_t *pulIdleTaskStackSize )
{
  *ppxIdleTaskTCBBuffer = &xIdleTaskTCBBuffer;
  *ppxIdleTaskStackBuffer = &xIdleStack[0];
  *pulIdleTaskStackSize = configMINIMAL_STACK_SIZE;
  /* place for user code */
}
/* USER CODE END GET_IDLE_TASK_MEMORY */

void MX_FREERTOS_Init(void) {

  /* Create the thread(s) */
  /* definition and creation of defaultTask */
  osThreadDef(defaultTask, StartDefaultTask, osPriorityNormal, 0, 256);
  defaultTaskHandle = osThreadCreate(osThread(defaultTask), NULL);

}

void StartDefaultTask(void const * argument)
{
  for(;;)
  {
    osDelay(1);
  }
}
